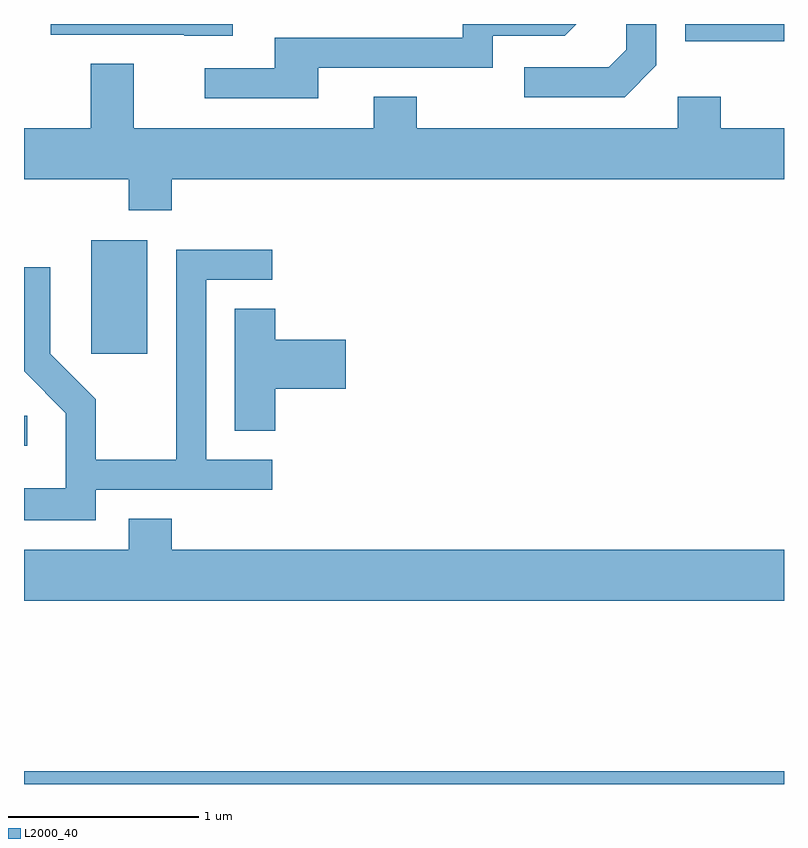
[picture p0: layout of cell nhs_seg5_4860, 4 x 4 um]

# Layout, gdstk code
import gdstk
lib = gdstk.Library(unit=1e-6, precision=1e-09)
def R(c, l, rs):  # rectangles x0, y0, x1, y1
    for r in rs: c.add(gdstk.rectangle(r[:2], r[2:], *l))
def P(c, l, *ps):  # polygons
    for p in ps: c.add(gdstk.Polygon(p, *l))
L2000_40 = (2000, 40)

nhs_seg5_4860 = lib.new_cell('nhs_seg5_4860')
R(nhs_seg5_4860, L2000_40, [(329.611,1438.072,333.611,1438.139), (329.611,1439.851,329.628,1440.009), (329.966,1440.336,330.259,1440.934), (333.091,1441.981,333.611,1442.072)])
P(nhs_seg5_4860, L2000_40, [(330.709,1442.072),(329.751,1442.072),(329.751,1442.016),(330.455,1442.016),(330.455,1442.011),(330.709,1442.011)],
  [(331.159,1441.841),(332.079,1441.841),(332.079,1442.011),(332.457,1442.011),(332.518,1442.072),(331.921,1442.072),(331.921,1441.999),(330.931,1441.999),(330.931,1441.839),(330.563,1441.839),(330.563,1441.681),(331.159,1441.681)],
  [(332.939,1441.854),(332.939,1442.072),(332.781,1442.072),(332.781,1441.937),(332.689,1441.844),(332.243,1441.844),(332.243,1441.686),(332.772,1441.686)],
  [(330.389,1441.256),(333.611,1441.256),(333.611,1441.524),(333.279,1441.524),(333.279,1441.689),(333.051,1441.689),(333.051,1441.524),(331.679,1441.524),(331.679,1441.689),(331.451,1441.689),(331.451,1441.524),(330.189,1441.524),(330.189,1441.864),(329.961,1441.864),(329.961,1441.524),(329.611,1441.524),(329.611,1441.256),(330.161,1441.256),(330.161,1441.091),(330.389,1441.091)],
  [(329.989,1439.621),(330.918,1439.621),(330.918,1439.779),(330.569,1439.779),(330.569,1440.726),(330.918,1440.726),(330.918,1440.884),(330.411,1440.884),(330.411,1439.779),(329.989,1439.779),(329.989,1440.097),(329.749,1440.337),(329.749,1440.793),(329.611,1440.793),(329.611,1440.244),(329.831,1440.024),(329.831,1439.629),(329.611,1439.629),(329.611,1439.461),(329.989,1439.461)],
  [(330.934,1440.151),(331.304,1440.151),(331.304,1440.409),(330.934,1440.409),(330.934,1440.574),(330.721,1440.574),(330.721,1439.931),(330.934,1439.931)],
  [(333.611,1439.304),(330.389,1439.304),(330.389,1439.469),(330.161,1439.469),(330.161,1439.304),(329.611,1439.304),(329.611,1439.036),(333.611,1439.036)])

lib.write_gds('nhs_seg5_4860.gds')
